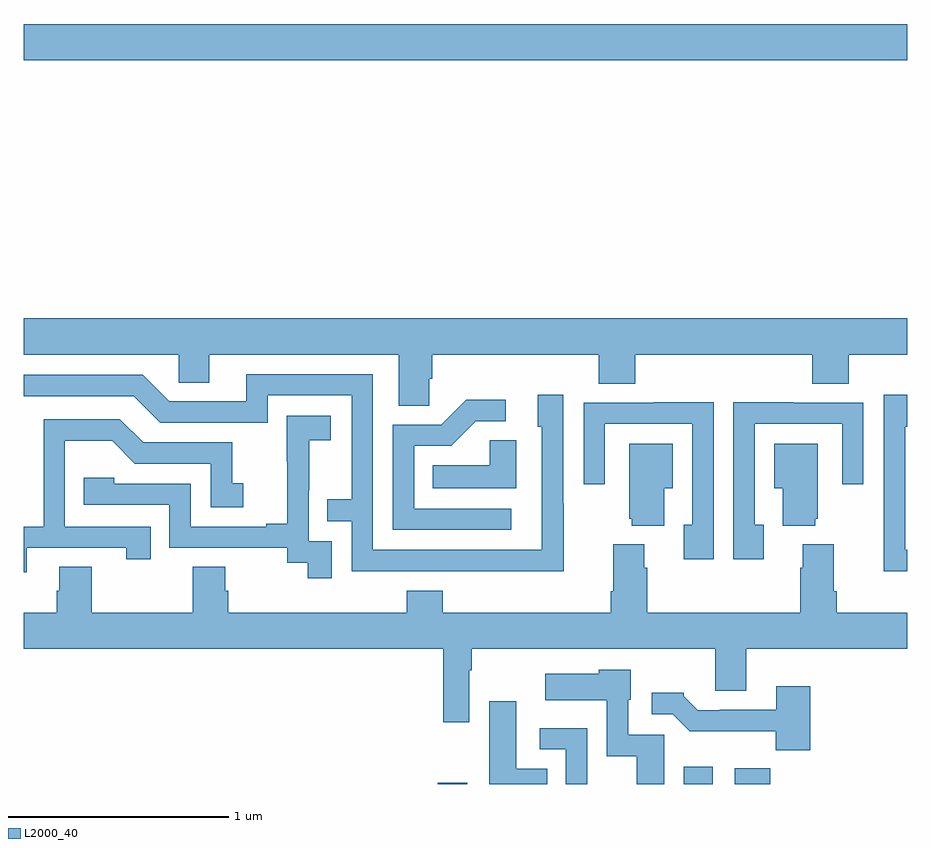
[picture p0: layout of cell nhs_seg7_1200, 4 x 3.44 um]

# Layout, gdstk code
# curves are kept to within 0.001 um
import gdstk
lib = gdstk.Library(unit=1e-6, precision=1e-09)
def R(c, l, rs):  # rectangles x0, y0, x1, y1
    for r in rs: c.add(gdstk.rectangle(r[:2], r[2:], *l))
def P(c, l, *ps):  # polygons
    for p in ps: c.add(gdstk.Polygon(p, *l))
L2000_40 = (2000, 40)

nhs_seg7_1200 = lib.new_cell('nhs_seg7_1200')
R(nhs_seg7_1200, L2000_40, [(196.874,1004,197.008,1004.005), (197.987,1004,198.118,1004.077), (198.218,1004,198.38,1004.071), (195,1007.276,199,1007.44)])
P(nhs_seg7_1200, L2000_40, [(196.836,1005.835),(196.85,1005.835),(196.85,1005.944),(197.603,1005.944),(197.603,1005.811),(197.768,1005.811),(197.768,1005.944),(198.569,1005.944),(198.569,1005.811),(198.734,1005.811),(198.734,1005.944),(199,1005.944),(199,1006.108),(195,1006.108),(195,1005.944),(195.702,1005.944),(195.702,1005.817),(195.841,1005.817),(195.841,1005.944),(196.697,1005.944),(196.697,1005.712),(196.836,1005.712)],
  [(197.445,1005.269),(197.442,1005.269),(197.442,1005.763),(197.327,1005.763),(197.327,1005.618),(197.346,1005.618),(197.346,1005.06),(196.581,1005.06),(196.581,1005.855),(196.007,1005.855),(196.007,1005.732),(195.66,1005.732),(195.54,1005.852),(195,1005.852),(195,1005.756),(195.498,1005.756),(195.618,1005.636),(196.104,1005.636),(196.104,1005.759),(196.485,1005.759),(196.485,1005.29),(196.375,1005.29),(196.375,1005.189),(196.485,1005.189),(196.485,1004.964),(197.445,1004.963)],
  [(199,1005.06),(198.99,1005.06),(198.99,1005.618),(199,1005.618),(199,1005.763),(198.894,1005.763),(198.894,1005.269),(198.892,1005.269),(198.892,1004.963),(199,1004.963)],
  [(197.206,1005.246),(196.767,1005.246),(196.767,1005.531),(196.936,1005.531),(197.047,1005.642),(197.182,1005.642),(197.182,1005.74),(197.003,1005.74),(196.89,1005.627),(196.671,1005.627),(196.671,1005.15),(197.206,1005.15)],
  [(198.349,1005.174),(198.309,1005.174),(198.309,1005.63),(198.705,1005.63),(198.705,1005.357),(198.801,1005.357),(198.801,1005.726),(198.485,1005.726),(198.485,1005.728),(198.213,1005.728),(198.213,1005.018),(198.349,1005.018)],
  [(198.123,1005.728),(197.851,1005.728),(197.851,1005.726),(197.535,1005.726),(197.535,1005.357),(197.631,1005.357),(197.631,1005.63),(198.027,1005.63),(198.027,1005.174),(197.987,1005.174),(197.987,1005.018),(198.123,1005.018)],
  [(196.395,1005.099),(196.29,1005.099),(196.29,1005.329),(196.292,1005.329),(196.292,1005.557),(196.39,1005.557),(196.39,1005.667),(196.192,1005.667),(196.192,1005.461),(196.193,1005.461),(196.193,1005.178),(196.097,1005.178),(196.097,1005.165),(195.756,1005.165),(195.756,1005.36),(195.411,1005.36),(195.411,1005.387),(195.271,1005.387),(195.271,1005.264),(195.66,1005.264),(195.66,1005.069),(196.194,1005.069),(196.194,1005.001),(196.287,1005.001),(196.287,1004.931),(196.395,1004.931)],
  [(195.013,1005.069),(195.464,1005.069),(195.464,1005.018),(195.575,1005.018),(195.575,1005.165),(195.186,1005.165),(195.186,1005.554),(195.4,1005.554),(195.504,1005.45),(195.846,1005.45),(195.846,1005.252),(195.994,1005.252),(195.994,1005.361),(195.945,1005.361),(195.945,1005.546),(195.541,1005.546),(195.436,1005.651),(195.09,1005.651),(195.09,1005.165),(195,1005.165),(195,1004.958),(195.013,1004.958)],
  [(197.23,1005.557),(197.109,1005.557),(197.109,1005.442),(196.852,1005.442),(196.852,1005.338),(197.23,1005.338)],
  [(198.584,1005.201),(198.595,1005.201),(198.595,1005.541),(198.398,1005.541),(198.398,1005.338),(198.437,1005.338),(198.437,1005.17),(198.584,1005.17)],
  [(197.899,1005.338),(197.938,1005.338),(197.938,1005.541),(197.741,1005.541),(197.741,1005.201),(197.753,1005.201),(197.753,1005.17),(197.899,1005.17)],
  [(197.016,1004.516),(197.029,1004.516),(197.029,1004.612),(198.131,1004.612),(198.131,1004.422),(198.271,1004.422),(198.271,1004.612),(199,1004.612),(199,1004.776),(198.68,1004.776),(198.68,1004.872),(198.667,1004.872),(198.667,1005.085),(198.527,1005.085),(198.527,1004.978),(198.515,1004.978),(198.515,1004.776),(197.822,1004.776),(197.822,1004.978),(197.809,1004.978),(197.809,1005.085),(197.669,1005.085),(197.669,1004.872),(197.657,1004.872),(197.657,1004.776),(196.898,1004.776),(196.898,1004.875),(196.733,1004.875),(196.733,1004.776),(195.926,1004.776),(195.926,1004.874),(195.913,1004.874),(195.913,1004.984),(195.766,1004.984),(195.766,1004.776),(195.309,1004.776),(195.309,1004.984),(195.161,1004.984),(195.161,1004.874),(195.149,1004.874),(195.149,1004.776),(195,1004.776),(195,1004.612),(196.9,1004.612),(196.9,1004.28),(197.016,1004.28)],
  [(197.899,1004.223),(197.736,1004.223),(197.736,1004.382),(197.749,1004.382),(197.749,1004.518),(197.604,1004.518),(197.604,1004.5),(197.361,1004.5),(197.361,1004.378),(197.64,1004.378),(197.64,1004.126),(197.774,1004.126),(197.774,1004),(197.899,1004)],
  [(198.56,1004.443),(198.407,1004.443),(198.407,1004.337),(198.151,1004.337),(198.151,1004.334),(198.052,1004.334),(197.988,1004.398),(197.988,1004.413),(197.844,1004.413),(197.844,1004.316),(197.937,1004.316),(198.016,1004.238),(198.405,1004.238),(198.405,1004.153),(198.56,1004.153)],
  [(197.369,1004.068),(197.23,1004.068),(197.23,1004.374),(197.108,1004.374),(197.108,1004),(197.369,1004)],
  [(197.55,1004.253),(197.337,1004.253),(197.337,1004.157),(197.454,1004.157),(197.454,1004),(197.55,1004)])

lib.write_gds('nhs_seg7_1200.gds')
